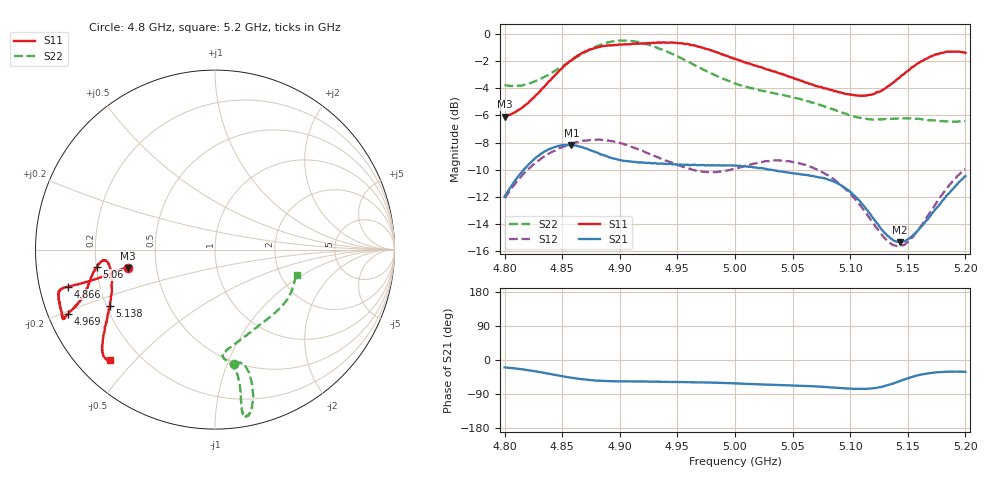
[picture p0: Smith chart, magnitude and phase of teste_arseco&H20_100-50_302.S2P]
! Network Analyzer HP8722D
! Hewlett-Packard
! Data name: Linha & Wilkinson
! Saver's name: Rodrigo Anjos
! Comments: Teste da utilização de aquisição
! continua pelo VNA HP8722D
! Time and date: 6/5/2025 15:05
!  Frequency  S11  S21  S12  S22
# HZ  S  MA R 50
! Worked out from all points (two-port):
!   401 points, 4.8 GHz to 5.2 GHz, reference 50 ohm
!   highest |S21| = -8.17 dB at 4.858 GHz (marker M1); lowest = -15.3 dB at 5.143 GHz (marker M2)
!   |S21| within 3 dB of the highest: 4.806 GHz to 5.093 GHz (286.7 MHz wide, 5.79 % of centre); 5.19171 GHz to end of sweep
!   lowest |S11| = -6.1 dB at 4.8 GHz (marker M3), VSWR 2.97, Z = 17 - j4.58 ohm
!   |S11| at or under -10 dB: nowhere
!   |S22| runs from -6.5 to -0.5 dB; largest |S21 - S12| = 0.62
!   S11 on the Smith chart (normalised r, x): 4.8 GHz: 0.34, -0.09; 4.866 GHz: 0.09, -0.12; 4.969 GHz: 0.06, -0.21; 5.06 GHz: 0.20, -0.07; 5.138 GHz: 0.21, -0.24; 5.2 GHz: 0.09, -0.43
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4.8e9  0.4964 -168.2  0.252 -19.6  0.2485 -140.8  0.6482 -80.4
4.83e9  0.6107 -166.9  0.3578 -31.6  0.3431 -145.1  0.6791 -75.2
4.858e9  0.7988 -165.9  0.3903 -46.8  0.3935 -150.5  0.7973 -74.8
4.866e9  0.8434 -165.8  0.3835 -50.3  0.4022 -151.8  0.8366 -75.3
4.867e9  0.8487 -165.8  0.3841 -50.8  0.4028 -151.9  0.842 -75.4
4.88e9  0.8908 -165.5  0.3662 -54.4  0.4087 -154.1  0.9002 -76.8
4.899e9  0.9143 -162.8  0.3446 -56.5  0.3984 -156.6  0.9444 -79.0
4.934e9  0.9306 -156.5  0.3332 -57.4  0.3511 -155.6  0.8828 -80.4
4.969e9  0.8959 -156.3  0.3289 -59.0  0.3125 -147.3  0.7517 -79.7
5e9  0.8107 -159.0  0.3277 -61.8  0.3192 -137.2  0.6568 -81.3
5.036e9  0.7228 -165.7  0.314 -65.9  0.3423 -134.4  0.6021 -85.7
5.06e9  0.6654 -171.6  0.303 -68.1  0.3302 -136.1  0.5702 -84.2
5.067e9  0.6508 -173.2  0.3005 -69.1  0.3231 -136.8  0.5581 -82.6
5.086e9  0.6154 -174.6  0.286 -72.8  0.2916 -138.4  0.5259 -75.3
5.102e9  0.5958 -171.6  0.2577 -76.0  0.2533 -138.7  0.4987 -65.9
5.116e9  0.5957 -165.4  0.2215 -75.9  0.2127 -135.5  0.4858 -55.8
5.134e9  0.6455 -154.1  0.1786 -65.3  0.1707 -120.8  0.4866 -43.3
5.138e9  0.6653 -151.9  0.1736 -61.2  0.167 -115.7  0.4871 -40.7
5.143e9  0.6909 -149.3  0.1712 -55.9  0.1657 -109.1  0.4883 -38.0
5.154e9  0.7558 -144.4  0.181 -44.6  0.179 -95.0  0.4876 -32.3
5.173e9  0.8362 -138.9  0.2239 -33.3  0.2327 -80.8  0.4811 -24.3
5.2e9  0.8516 -133.6  0.3 -31.2  0.3185 -76.9  0.478 -17.5
